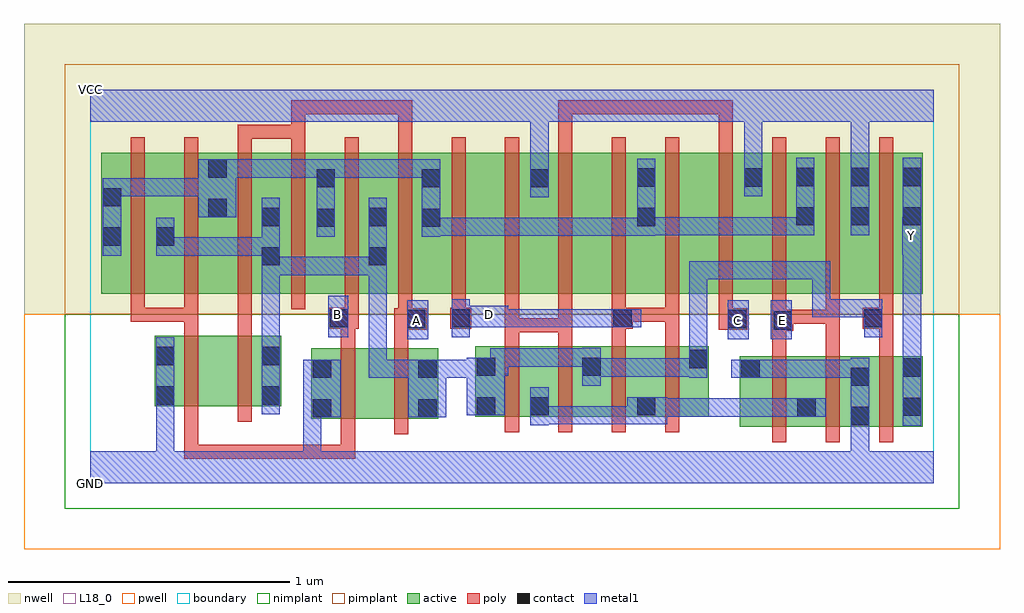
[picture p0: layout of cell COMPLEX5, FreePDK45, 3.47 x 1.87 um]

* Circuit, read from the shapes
.subckt COMPLEX5 A B C D E GND VCC Y
M1 n1 B GND VSUBS nfet w=0.25u l=0.05u
M2 n2 A n1 VSUBS nfet w=0.25u l=0.05u
M3 n3 B GND VSUBS nfet w=0.25u l=0.05u
M4 n2 A n3 VSUBS nfet w=0.25u l=0.05u
M5 n4 C n2 VSUBS nfet w=0.25u l=0.05u m=2
M6 n4 D n2 VSUBS nfet w=0.25u l=0.05u m=2
M7 n4 E GND VSUBS nfet w=0.25u l=0.05u m=2
M8 Y n2 GND VSUBS nfet w=0.25u l=0.05u
M9 n2 B n5 n6 pfet w=0.5u l=0.05u m=3
M10 n2 A n5 n6 pfet w=0.5u l=0.05u m=3
M11 n7 D n5 n6 pfet w=0.5u l=0.05u
M12 VCC C n7 n6 pfet w=0.5u l=0.05u
M13 n8 C VCC n6 pfet w=0.5u l=0.05u
M14 n5 D n8 n6 pfet w=0.5u l=0.05u
M15 n9 D n5 n6 pfet w=0.5u l=0.05u
M16 VCC C n9 n6 pfet w=0.5u l=0.05u
M17 n5 E VCC n6 pfet w=0.5u l=0.05u m=2
M18 Y n2 VCC n6 pfet w=0.5u l=0.05u
.ends

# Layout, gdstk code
import gdstk
lib = gdstk.Library(unit=1e-6, precision=1e-09)
def R(c, l, rs):  # rectangles x0, y0, x1, y1
    for r in rs: c.add(gdstk.rectangle(r[:2], r[2:], *l))
def A(c, l, x, y, w, h, nx, ny, dx, dy):  # array of equal rectangles
    R(c, l, [(x+i*dx, y+j*dy, x+i*dx+w, y+j*dy+h) for i in range(nx) for j in range(ny)])
active = (1, 0)
pwell = (2, 0)
nwell = (3, 0)
nimplant = (4, 0)
pimplant = (5, 0)
poly = (9, 0)
contact = (10, 0)
metal1 = (11, 0)
L18_0 = (18, 0)
boundary = (235, 0)

complex5 = lib.new_cell('COMPLEX5')
A(complex5, active, 1.405, 0.675, 0.23, 0.5, 3, 1, 0.38, 0)
R(complex5, active, [(2.31,0.202,2.585,0.452), (2.51,0.202,2.775,0.452), (2.7,0.202,2.96,0.452), (2.7,0.202,2.775,0.417), (2.885,0.202,2.96,0.452), (0.787,0.23,0.862,0.48), (0.787,0.23,1.012,0.48), (1.012,0.23,1.237,0.48), (1.162,0.23,1.237,0.48), (2.51,0.232,2.585,0.342), (1.37,0.237,1.445,0.487), (1.37,0.237,1.635,0.487), (1.56,0.237,1.82,0.487), (1.56,0.237,1.635,0.342), (1.745,0.237,2.015,0.487), (1.94,0.237,2.2,0.487), (1.94,0.237,2.015,0.405), (0.23,0.275,0.305,0.525), (0.23,0.275,0.455,0.525), (0.455,0.275,0.68,0.525), (0.605,0.275,0.68,0.525), (1.745,0.297,1.82,0.452), (2.125,0.297,2.2,0.487), (2.31,0.297,2.385,0.452), (0.04,0.675,0.115,1.175), (0.04,0.675,0.305,1.175), (0.23,0.675,0.49,1.175), (0.23,0.675,0.305,1.07), (0.415,0.675,0.49,1.175), (0.415,0.675,0.68,1.175), (0.605,0.675,0.875,1.175), (0.605,0.675,0.68,1.07), (0.8,0.675,1.06,1.175), (0.985,0.675,1.25,1.175), (0.985,0.675,1.06,1.07), (1.175,0.675,1.25,1.175), (1.175,0.675,1.405,1.175), (1.56,0.675,1.785,1.175), (1.94,0.675,2.015,1.175), (1.94,0.675,2.165,1.175), (2.32,0.675,2.58,1.175), (2.505,0.675,2.775,1.175), (2.7,0.675,2.96,1.175), (2.7,0.675,2.775,1.175), (2.885,0.675,2.96,1.165), (0.8,0.697,0.875,1.175), (1.56,0.72,1.635,1.175), (2.505,0.722,2.58,1.157), (2.32,0.807,2.395,1.175)])
R(complex5, pwell, [(-0.235,-0.235,3.235,0.602)])
R(complex5, nwell, [(-0.235,0.602,3.235,1.635)])
R(complex5, nimplant, [(-0.09,-0.09,3.09,0.602)])
R(complex5, pimplant, [(-0.09,0.602,3.09,1.49)])
A(complex5, poly, 2.425, 0.147, 0.05, 0.36, 3, 1, 0.19, 0)
A(complex5, poly, 1.475, 0.182, 0.05, 0.36, 4, 1, 0.19, 0)
A(complex5, poly, 0.145, 0.575, 0.05, 0.095, 3, 1, 0.19, 0)
A(complex5, poly, 0.145, 0.575, 0.05, 0.05, 3, 1, 0.19, 0)
A(complex5, poly, 0.145, 0.62, 0.05, 0.61, 15, 1, 0.19, 0)
A(complex5, poly, 1.095, 1.18, 0.05, 0.182, 3, 1, 0.57, 0)
R(complex5, poly, [(0.335,0.087,0.385,0.137), (0.335,0.087,0.385,0.137), (0.335,0.087,0.385,0.137), (0.335,0.087,0.517,0.137), (0.335,0.087,0.385,0.27), (0.467,0.087,0.517,0.137), (0.467,0.087,0.517,0.137), (0.467,0.087,0.517,0.137), (0.467,0.087,0.765,0.137), (0.715,0.087,0.765,0.137), (0.715,0.087,0.765,0.137), (0.715,0.087,0.765,0.137), (0.715,0.087,0.942,0.137), (0.892,0.087,0.942,0.137), (0.892,0.087,0.942,0.225), (0.892,0.175,0.942,0.535), (1.082,0.175,1.132,0.535), (0.335,0.22,0.385,0.58), (0.525,0.22,0.575,0.58), (2.425,0.457,2.475,0.592), (2.615,0.457,2.665,0.617), (2.805,0.457,2.855,0.6), (0.892,0.485,0.942,0.6), (1.082,0.485,1.132,0.597), (1.475,0.492,1.525,0.587), (1.665,0.492,1.715,0.587), (1.855,0.492,1.905,0.6), (2.045,0.492,2.095,0.625), (0.335,0.53,0.385,0.625), (0.525,0.53,0.575,0.625), (1.475,0.537,1.525,0.587), (1.475,0.537,1.525,0.587), (1.475,0.537,1.525,0.587), (1.475,0.537,1.715,0.587), (1.475,0.537,1.525,0.67), (1.665,0.537,1.715,0.587), (1.665,0.537,1.715,0.67), (2.425,0.542,2.5,0.617), (1.082,0.547,1.197,0.622), (2.235,0.547,2.337,0.622), (0.847,0.55,0.955,0.625), (1.28,0.55,1.355,0.625), (1.855,0.55,1.93,0.625), (2.747,0.55,2.855,0.625), (2.425,0.567,2.475,0.67), (2.45,0.567,2.665,0.617), (2.45,0.567,2.5,0.617), (2.45,0.567,2.5,0.617), (2.615,0.567,2.665,0.67), (2.615,0.567,2.665,0.617), (1.095,0.572,1.145,0.67), (2.235,0.572,2.285,0.67), (0.145,0.575,0.195,0.625), (0.145,0.575,0.195,0.625), (0.145,0.575,0.385,0.625), (0.905,0.575,0.955,0.67), (1.285,0.575,1.335,0.67), (1.855,0.575,1.905,0.67), (1.88,0.575,2.095,0.625), (2.045,0.575,2.095,0.67), (2.045,0.575,2.095,0.625), (2.045,0.575,2.095,0.625), (2.045,0.575,2.095,0.625), (2.805,0.575,2.855,0.67), (0.525,1.18,0.575,1.275), (0.715,1.18,0.765,1.275), (0.525,1.225,0.575,1.275), (0.525,1.225,0.575,1.275), (0.525,1.225,0.575,1.275), (0.525,1.225,0.765,1.275), (0.715,1.225,0.765,1.362), (0.715,1.312,0.765,1.362), (0.715,1.312,0.765,1.362), (0.715,1.312,0.897,1.362), (0.847,1.312,0.897,1.362), (0.847,1.312,1.145,1.362), (1.095,1.312,1.145,1.362), (1.095,1.312,1.145,1.362), (1.095,1.312,1.145,1.362), (1.665,1.312,1.715,1.362), (1.665,1.312,1.962,1.362), (1.912,1.312,1.962,1.362), (1.912,1.312,1.962,1.362), (1.912,1.312,1.962,1.362), (1.912,1.312,2.095,1.362), (2.045,1.312,2.095,1.362), (2.045,1.312,2.095,1.362), (2.045,1.312,2.095,1.362), (2.045,1.312,2.285,1.362), (2.235,1.312,2.285,1.362), (2.235,1.312,2.285,1.362), (2.235,1.312,2.285,1.362)])
R(complex5, contact, [(2.705,0.207,2.77,0.272), (0.792,0.235,0.857,0.3), (1.167,0.235,1.232,0.3), (2.515,0.237,2.58,0.302), (2.89,0.24,2.955,0.305), (1.375,0.242,1.44,0.307), (1.565,0.242,1.63,0.307), (1.945,0.242,2.01,0.307), (0.235,0.28,0.3,0.345), (0.61,0.28,0.675,0.345), (2.705,0.347,2.77,0.412), (0.792,0.375,0.857,0.44), (1.167,0.375,1.232,0.44), (2.315,0.375,2.38,0.44), (2.89,0.38,2.955,0.445), (1.375,0.382,1.44,0.447), (1.75,0.382,1.815,0.447), (2.13,0.41,2.195,0.475), (0.235,0.42,0.3,0.485), (0.61,0.42,0.675,0.485), (2.43,0.547,2.495,0.612), (1.127,0.552,1.192,0.617), (2.267,0.552,2.332,0.617), (0.852,0.555,0.917,0.62), (1.285,0.555,1.35,0.62), (1.86,0.555,1.925,0.62), (2.752,0.555,2.817,0.62), (0.61,0.775,0.675,0.84), (0.99,0.775,1.055,0.84), (0.045,0.845,0.11,0.91), (0.235,0.845,0.3,0.91), (0.805,0.912,0.87,0.977), (1.18,0.912,1.245,0.977), (0.61,0.915,0.675,0.98), (0.99,0.915,1.055,0.98), (1.945,0.915,2.01,0.98), (2.51,0.917,2.575,0.982), (2.705,0.917,2.77,0.982), (2.89,0.917,2.955,0.982), (0.42,0.947,0.485,1.012), (0.045,0.985,0.11,1.05), (0.805,1.052,0.87,1.117), (1.18,1.052,1.245,1.117), (1.565,1.052,1.63,1.117), (1.945,1.055,2.01,1.12), (2.325,1.055,2.39,1.12), (2.51,1.057,2.575,1.122), (2.705,1.057,2.77,1.122), (2.89,1.057,2.955,1.122), (0.42,1.087,0.485,1.152)])
R(complex5, metal1, [(0,0,3,0.115), (0.235,0.05,0.3,0.115), (0.235,0.05,0.3,0.115), (0.235,0.05,0.3,0.115), (0.235,0.05,0.3,0.115), (0.235,0.05,0.3,0.31), (0.757,0.05,0.822,0.115), (0.757,0.05,0.822,0.115), (0.757,0.05,0.822,0.115), (0.757,0.05,0.822,0.115), (0.757,0.05,0.822,0.3), (2.705,0.05,2.77,0.115), (2.705,0.05,2.77,0.115), (2.705,0.05,2.77,0.115), (2.705,0.05,2.77,0.115), (2.705,0.05,2.77,0.237), (2.705,0.172,2.77,0.447), (2.89,0.205,2.955,0.48), (1.565,0.207,1.63,0.342), (1.565,0.21,1.63,0.275), (1.565,0.21,1.63,0.275), (1.565,0.21,1.767,0.275), (1.702,0.21,1.767,0.275), (1.702,0.21,1.915,0.275), (1.85,0.21,1.915,0.275), (1.85,0.21,1.975,0.275), (1.91,0.21,2.052,0.307), (0.757,0.235,0.892,0.44), (1.132,0.235,1.267,0.44), (1.987,0.237,2.052,0.302), (1.987,0.237,2.052,0.302), (1.987,0.237,2.207,0.302), (2.142,0.237,2.207,0.302), (2.142,0.237,2.207,0.302), (2.142,0.237,2.207,0.302), (2.142,0.237,2.407,0.302), (2.342,0.237,2.407,0.302), (2.342,0.237,2.407,0.302), (2.342,0.237,2.407,0.302), (2.342,0.237,2.545,0.302), (2.48,0.237,2.615,0.302), (1.34,0.242,1.475,0.447), (0.235,0.245,0.3,0.52), (0.61,0.245,0.675,0.52), (1.75,0.347,1.815,0.482), (0.99,0.375,1.055,0.44), (0.99,0.375,1.055,0.44), (0.99,0.375,1.055,0.44), (0.99,0.375,1.055,0.44), (0.99,0.375,1.055,0.44), (0.99,0.375,1.197,0.44), (0.99,0.375,1.055,0.805), (1.202,0.375,1.267,0.44), (1.202,0.375,1.267,0.44), (1.202,0.375,1.405,0.44), (2.13,0.375,2.195,0.51), (2.28,0.375,2.415,0.44), (2.35,0.375,2.415,0.44), (2.35,0.375,2.415,0.44), (2.35,0.375,2.632,0.44), (2.567,0.375,2.632,0.44), (2.567,0.375,2.632,0.44), (2.567,0.375,2.632,0.44), (2.567,0.375,2.77,0.44), (2.705,0.375,2.77,0.447), (1.75,0.38,1.815,0.445), (1.75,0.38,1.815,0.445), (1.75,0.38,2.057,0.445), (1.992,0.38,2.057,0.445), (1.992,0.38,2.057,0.445), (1.992,0.38,2.057,0.445), (1.992,0.38,2.195,0.445), (1.41,0.382,1.487,0.447), (1.422,0.382,1.487,0.48), (2.705,0.382,2.77,0.447), (1.422,0.415,1.625,0.48), (1.56,0.415,1.625,0.48), (1.56,0.415,1.625,0.48), (1.56,0.415,1.625,0.48), (1.56,0.415,1.815,0.48), (2.89,0.415,2.955,0.877), (2.13,0.445,2.195,0.51), (2.13,0.445,2.195,0.51), (2.13,0.445,2.195,0.79), (0.61,0.455,0.675,0.805), (1.127,0.512,1.202,0.652), (2.267,0.512,2.342,0.652), (2.42,0.512,2.495,0.652), (0.847,0.52,0.917,0.667), (1.285,0.52,1.35,0.655), (2.752,0.52,2.817,0.655), (1.285,0.555,1.417,0.62), (1.352,0.555,1.487,0.632), (1.422,0.555,1.487,0.62), (1.422,0.555,1.487,0.62), (1.422,0.555,1.625,0.62), (1.56,0.555,1.625,0.62), (1.56,0.555,1.625,0.62), (1.56,0.555,1.625,0.62), (1.56,0.555,1.837,0.62), (1.772,0.555,1.837,0.62), (1.772,0.555,1.89,0.62), (1.825,0.555,1.96,0.62), (2.567,0.59,2.632,0.655), (2.567,0.59,2.632,0.655), (2.567,0.59,2.632,0.655), (2.567,0.59,2.77,0.655), (2.567,0.59,2.632,0.79), (2.705,0.59,2.77,0.655), (2.705,0.59,2.817,0.655), (2.13,0.725,2.195,0.79), (2.13,0.725,2.195,0.79), (2.13,0.725,2.195,0.79), (2.13,0.725,2.407,0.79), (2.342,0.725,2.407,0.79), (2.342,0.725,2.407,0.79), (2.342,0.725,2.407,0.79), (2.342,0.725,2.632,0.79), (2.567,0.725,2.632,0.79), (0.61,0.74,0.675,0.805), (0.61,0.74,0.675,0.805), (0.61,0.74,0.675,0.805), (0.61,0.74,0.675,0.805), (0.61,0.74,0.675,1.015), (0.61,0.74,0.917,0.805), (0.852,0.74,0.917,0.805), (0.852,0.74,0.917,0.805), (0.852,0.74,0.917,0.805), (0.852,0.74,1.055,0.805), (0.99,0.74,1.055,1.015), (0.045,0.81,0.11,1.085), (0.235,0.81,0.3,0.875), (0.235,0.81,0.3,0.875), (0.235,0.81,0.3,0.945), (0.235,0.81,0.437,0.875), (0.372,0.81,0.437,0.875), (0.372,0.81,0.437,0.875), (0.372,0.81,0.437,0.875), (0.372,0.81,0.675,0.875), (2.887,0.812,2.955,0.947), (0.805,0.877,0.87,1.152), (1.18,0.877,1.245,1.152), (1.18,0.88,1.245,0.945), (1.18,0.88,1.245,0.945), (1.18,0.88,1.487,0.945), (1.422,0.88,1.487,0.945), (1.422,0.88,1.487,0.945), (1.422,0.88,1.487,0.945), (1.422,0.88,1.63,0.945), (1.565,0.88,1.63,0.945), (1.565,0.88,1.63,0.945), (1.565,0.88,1.63,0.945), (1.565,0.88,1.767,0.945), (1.702,0.88,1.767,0.945), (1.702,0.88,1.767,0.945), (1.702,0.88,1.767,0.945), (1.702,0.88,2.01,0.945), (1.945,0.88,2.01,1.155), (1.945,0.882,2.052,0.947), (1.987,0.882,2.052,0.947), (1.987,0.882,2.207,0.947), (2.142,0.882,2.207,0.947), (2.142,0.882,2.207,0.947), (2.142,0.882,2.207,0.947), (2.142,0.882,2.407,0.947), (2.342,0.882,2.407,0.947), (2.342,0.882,2.407,0.947), (2.342,0.882,2.407,0.947), (2.342,0.882,2.575,0.947), (2.51,0.882,2.575,1.157), (2.705,0.882,2.77,1.157), (2.89,0.882,2.955,0.947), (2.89,0.882,2.955,1.157), (0.385,0.947,0.52,1.152), (1.565,1.017,1.63,1.152), (0.045,1.02,0.11,1.085), (0.045,1.02,0.11,1.085), (0.045,1.02,0.3,1.085), (0.235,1.02,0.3,1.085), (0.235,1.02,0.3,1.085), (0.235,1.02,0.3,1.085), (0.235,1.02,0.45,1.085), (2.325,1.02,2.39,1.155), (0.455,1.087,0.52,1.152), (0.455,1.087,0.52,1.152), (0.455,1.087,0.685,1.152), (0.62,1.087,0.685,1.152), (0.62,1.087,0.685,1.152), (0.62,1.087,0.685,1.152), (0.62,1.087,0.87,1.152), (0.805,1.087,0.87,1.152), (0.805,1.087,0.87,1.152), (0.805,1.087,1.06,1.152), (0.995,1.087,1.06,1.152), (0.995,1.087,1.06,1.152), (0.995,1.087,1.06,1.152), (0.995,1.087,1.245,1.152), (1.565,1.087,1.63,1.152), (1.565,1.087,1.63,1.152), (1.565,1.087,1.63,1.35), (2.325,1.09,2.39,1.155), (2.325,1.09,2.39,1.155), (2.325,1.09,2.39,1.35), (2.705,1.092,2.77,1.35), (0,1.285,3,1.4), (2.705,1.285,2.77,1.35), (2.705,1.285,2.77,1.35)])
R(complex5, L18_0, [(0,0,3,0.115), (0.235,0.05,0.3,0.115), (0.235,0.05,0.3,0.115), (0.235,0.05,0.3,0.115), (0.235,0.05,0.3,0.115), (0.235,0.05,0.3,0.31), (0.757,0.05,0.822,0.115), (0.757,0.05,0.822,0.115), (0.757,0.05,0.822,0.115), (0.757,0.05,0.822,0.115), (0.757,0.05,0.822,0.3), (2.705,0.05,2.77,0.115), (2.705,0.05,2.77,0.115), (2.705,0.05,2.77,0.115), (2.705,0.05,2.77,0.115), (2.705,0.05,2.77,0.237), (2.705,0.172,2.77,0.447), (2.89,0.205,2.955,0.48), (0.757,0.235,0.892,0.44), (0.235,0.245,0.3,0.52), (2.28,0.375,2.415,0.44), (2.35,0.375,2.415,0.44), (2.35,0.375,2.415,0.44), (2.35,0.375,2.632,0.44), (2.567,0.375,2.632,0.44), (2.567,0.375,2.632,0.44), (2.567,0.375,2.632,0.44), (2.567,0.375,2.77,0.44), (2.705,0.375,2.77,0.447), (2.705,0.382,2.77,0.447), (2.89,0.415,2.955,0.877), (1.127,0.512,1.202,0.652), (2.267,0.512,2.342,0.652), (2.42,0.512,2.495,0.652), (0.847,0.52,0.917,0.667), (1.285,0.52,1.35,0.655), (1.127,0.547,1.192,0.612), (2.267,0.547,2.332,0.612), (2.427,0.547,2.492,0.612), (1.285,0.555,1.417,0.62), (1.352,0.555,1.487,0.632), (1.422,0.555,1.487,0.62), (1.422,0.555,1.487,0.62), (1.422,0.555,1.625,0.62), (1.56,0.555,1.625,0.62), (1.56,0.555,1.625,0.62), (1.56,0.555,1.625,0.62), (1.56,0.555,1.837,0.62), (1.772,0.555,1.837,0.62), (1.772,0.555,1.89,0.62), (1.825,0.555,1.96,0.62), (0.847,0.567,0.912,0.632), (1.387,0.567,1.452,0.632), (2.887,0.812,2.955,0.947), (2.887,0.847,2.952,0.912), (2.705,0.882,2.77,1.157), (2.89,0.882,2.955,0.947), (2.89,0.882,2.955,1.157), (1.565,1.017,1.63,1.152), (2.325,1.02,2.39,1.155), (1.565,1.087,1.63,1.152), (1.565,1.087,1.63,1.152), (1.565,1.087,1.63,1.35), (2.325,1.09,2.39,1.155), (2.325,1.09,2.39,1.155), (2.325,1.09,2.39,1.35), (2.705,1.092,2.77,1.35), (0,1.285,3,1.4), (2.705,1.285,2.77,1.35), (2.705,1.285,2.77,1.35)])
R(complex5, boundary, [(0,0,3,1.4)])
complex5.add(gdstk.Label('A', (1.16,0.58), layer=11, texttype=0))
complex5.add(gdstk.Label('B', (0.88,0.6), layer=11, texttype=0))
complex5.add(gdstk.Label('C', (2.3,0.58), layer=11, texttype=0))
complex5.add(gdstk.Label('D', (1.42,0.6), layer=11, texttype=0))
complex5.add(gdstk.Label('E', (2.46,0.58), layer=11, texttype=0))
complex5.add(gdstk.Label('Y', (2.92,0.88), layer=11, texttype=0))
complex5.add(gdstk.Label('VCC', (0,1.4), layer=11, texttype=0))
complex5.add(gdstk.Label('GND', (0,0), layer=11, texttype=0))

lib.write_gds('COMPLEX5.gds')
